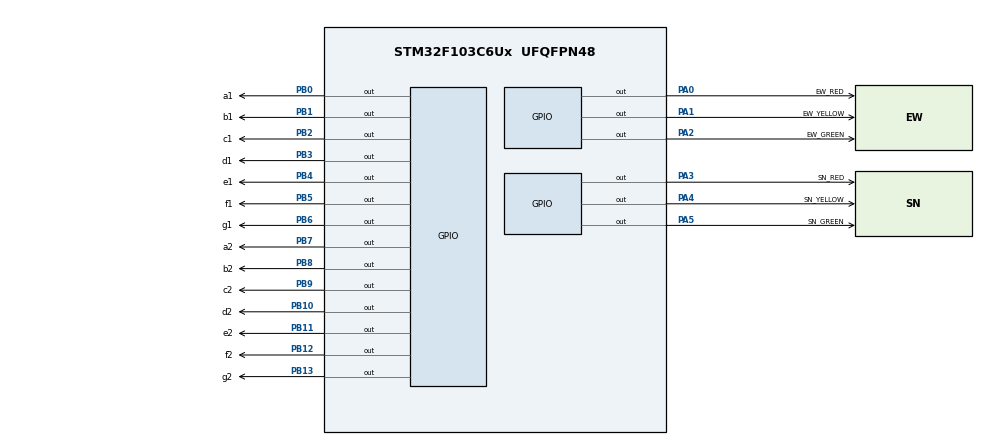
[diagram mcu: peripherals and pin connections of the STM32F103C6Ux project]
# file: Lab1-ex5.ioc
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Mcu.Family=STM32F1
Mcu.Name=STM32F103C6Ux
Mcu.Package=UFQFPN48
NVIC.PriorityGroup=NVIC_PRIORITYGROUP_4
PA0-WKUP.GPIO_Label=EW_RED
PA0-WKUP.Signal=GPIO_Output
PA1.GPIO_Label=EW_YELLOW
PA1.Signal=GPIO_Output
PA2.GPIO_Label=EW_GREEN
PA2.Signal=GPIO_Output
PA3.GPIO_Label=SN_RED
PA3.Signal=GPIO_Output
PA4.GPIO_Label=SN_YELLOW
PA4.Signal=GPIO_Output
PA5.GPIO_Label=SN_GREEN
PA5.Signal=GPIO_Output
PB0.GPIO_Label=a1
PB0.Signal=GPIO_Output
PB1.GPIO_Label=b1
PB1.Signal=GPIO_Output
PB10.GPIO_Label=d2
PB10.Signal=GPIO_Output
PB11.GPIO_Label=e2
PB11.Signal=GPIO_Output
PB12.GPIO_Label=f2
PB12.Signal=GPIO_Output
PB13.GPIO_Label=g2
PB13.Signal=GPIO_Output
PB2.GPIO_Label=c1
PB2.Signal=GPIO_Output
PB3.GPIO_Label=d1
PB3.Signal=GPIO_Output
PB4.GPIO_Label=e1
PB4.Signal=GPIO_Output
PB5.GPIO_Label=f1
PB5.Signal=GPIO_Output
PB6.GPIO_Label=g1
PB6.Signal=GPIO_Output
PB7.GPIO_Label=a2
PB7.Signal=GPIO_Output
PB8.GPIO_Label=b2
PB8.Signal=GPIO_Output
PB9.GPIO_Label=c2
PB9.Signal=GPIO_Output
ProjectManager.HeapSize=0x200
ProjectManager.StackSize=0x400
ProjectManager.TargetToolchain=STM32CubeIDE
RCC.APB1Freq_Value=8000000
RCC.APB2Freq_Value=8000000
VP_SYS_VS_ND.Mode=No_Debug
board=custom

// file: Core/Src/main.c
/* USER CODE BEGIN Header */
/**
  ******************************************************************************
  * @file           : main.c
  * @brief          : Main program body
  ******************************************************************************
  * @attention
  *
  * <h2><center>&copy; Copyright (c) 2025 STMicroelectronics.
  * All rights reserved.</center></h2>
  *
  * This software component is licensed by ST under BSD 3-Clause license,
  * the "License"; You may not use this file except in compliance with the
  * License. You may obtain a copy of the License at:
  *                        opensource.org/licenses/BSD-3-Clause
  *
  ******************************************************************************
  */
/* USER CODE END Header */
#include "main.h"

void SystemClock_Config(void);
static void MX_GPIO_Init(void);
/* USER CODE BEGIN PFP */
void display7SEG1(int num);
void display7SEG2(int num);
/* USER CODE END PFP */

int main(void)
{

  /* MCU Configuration--------------------------------------------------------*/

  /* Reset of all peripherals, Initializes the Flash interface and the Systick. */
  HAL_Init();

  /* Configure the system clock */
  SystemClock_Config();

  /* Initialize all configured peripherals */
  MX_GPIO_Init();

  /* Infinite loop */
  /* USER CODE BEGIN WHILE */
  int state = 1;
  int counter = 3;

  while (1) {
      switch (state) {
          case 1: // NS GREEN (5s), EW RED
              HAL_GPIO_WritePin(SN_GREEN_GPIO_Port, SN_GREEN_Pin, GPIO_PIN_RESET);
              HAL_GPIO_WritePin(SN_RED_GPIO_Port, SN_RED_Pin, GPIO_PIN_SET);
              HAL_GPIO_WritePin(SN_YELLOW_GPIO_Port, SN_YELLOW_Pin, GPIO_PIN_SET);
              HAL_GPIO_WritePin(EW_RED_GPIO_Port, EW_RED_Pin, GPIO_PIN_RESET);
              HAL_GPIO_WritePin(EW_GREEN_GPIO_Port, EW_GREEN_Pin, GPIO_PIN_SET);
              HAL_GPIO_WritePin(EW_YELLOW_GPIO_Port, EW_YELLOW_Pin, GPIO_PIN_SET);

              display7SEG1(counter + 2); // NS
              display7SEG2(counter);    // EW
              break;

          case 2: // NS YELLOW (2s), EW RED
              HAL_GPIO_WritePin(SN_GREEN_GPIO_Port, SN_GREEN_Pin, GPIO_PIN_SET);
              HAL_GPIO_WritePin(SN_YELLOW_GPIO_Port, SN_YELLOW_Pin, GPIO_PIN_RESET);
              HAL_GPIO_WritePin(EW_RED_GPIO_Port, EW_RED_Pin, GPIO_PIN_RESET);

              display7SEG1(counter);
              display7SEG2(counter);
              break;

          case 3: // EW GREEN (3s), NS RED
              HAL_GPIO_WritePin(EW_GREEN_GPIO_Port, EW_GREEN_Pin, GPIO_PIN_RESET);
              HAL_GPIO_WritePin(EW_RED_GPIO_Port, EW_RED_Pin, GPIO_PIN_SET);
              HAL_GPIO_WritePin(EW_YELLOW_GPIO_Port, EW_YELLOW_Pin, GPIO_PIN_SET);
              HAL_GPIO_WritePin(SN_RED_GPIO_Port, SN_RED_Pin, GPIO_PIN_RESET);
              HAL_GPIO_WritePin(SN_YELLOW_GPIO_Port, SN_YELLOW_Pin, GPIO_PIN_SET);

              display7SEG1(counter);
              display7SEG2(counter + 2);
              break;

          case 4: // EW YELLOW (2s), NS RED
              HAL_GPIO_WritePin(EW_GREEN_GPIO_Port, EW_GREEN_Pin, GPIO_PIN_SET);
              HAL_GPIO_WritePin(EW_YELLOW_GPIO_Port, EW_YELLOW_Pin, GPIO_PIN_RESET);
              HAL_GPIO_WritePin(SN_RED_GPIO_Port, SN_RED_Pin, GPIO_PIN_RESET);

              display7SEG1(counter);
              display7SEG2(counter);
              break;
      }

      // Delay
      HAL_Delay(1000);

      counter--;

      // Switch state
      if (counter <= 0) {
          switch (state) {
              case 1: state = 2; counter = 2; break;  // NS Yellow
              case 2: state = 3; counter = 3; break;  // EW Green
              case 3: state = 4; counter = 2; break;  // EW Yellow
              case 4: state = 1; counter = 3; break;  // Quay lại NS Green
          }
      }
  }

  /* USER CODE END 3 */
}

void SystemClock_Config(void)
{
  RCC_OscInitTypeDef RCC_OscInitStruct = {0};
  RCC_ClkInitTypeDef RCC_ClkInitStruct = {0};

  /** Initializes the RCC Oscillators according to the specified parameters
  * in the RCC_OscInitTypeDef structure.
  */
  RCC_OscInitStruct.OscillatorType = RCC_OSCILLATORTYPE_HSI;
  RCC_OscInitStruct.HSIState = RCC_HSI_ON;
  RCC_OscInitStruct.HSICalibrationValue = RCC_HSICALIBRATION_DEFAULT;
  RCC_OscInitStruct.PLL.PLLState = RCC_PLL_NONE;
  if (HAL_RCC_OscConfig(&RCC_OscInitStruct) != HAL_OK)
  {
    Error_Handler();
  }
  /** Initializes the CPU, AHB and APB buses clocks
  */
  RCC_ClkInitStruct.ClockType = RCC_CLOCKTYPE_HCLK|RCC_CLOCKTYPE_SYSCLK
                              |RCC_CLOCKTYPE_PCLK1|RCC_CLOCKTYPE_PCLK2;
  RCC_ClkInitStruct.SYSCLKSource = RCC_SYSCLKSOURCE_HSI;
  RCC_ClkInitStruct.AHBCLKDivider = RCC_SYSCLK_DIV1;
  RCC_ClkInitStruct.APB1CLKDivider = RCC_HCLK_DIV1;
  RCC_ClkInitStruct.APB2CLKDivider = RCC_HCLK_DIV1;

  if (HAL_RCC_ClockConfig(&RCC_ClkInitStruct, FLASH_LATENCY_0) != HAL_OK)
  {
    Error_Handler();
  }
}

static void MX_GPIO_Init(void)
{
  GPIO_InitTypeDef GPIO_InitStruct = {0};

  /* GPIO Ports Clock Enable */
  __HAL_RCC_GPIOA_CLK_ENABLE();
  __HAL_RCC_GPIOB_CLK_ENABLE();

  /*Configure GPIO pin Output Level */
  HAL_GPIO_WritePin(GPIOA, EW_RED_Pin|EW_YELLOW_Pin|EW_GREEN_Pin|SN_RED_Pin
                          |SN_YELLOW_Pin|SN_GREEN_Pin, GPIO_PIN_RESET);

  /*Configure GPIO pin Output Level */
  HAL_GPIO_WritePin(GPIOB, a1_Pin|b1_Pin|c1_Pin|d2_Pin
                          |e2_Pin|f2_Pin|g2_Pin|d1_Pin
                          |e1_Pin|f1_Pin|g1_Pin|a2_Pin
                          |b2_Pin|c2_Pin, GPIO_PIN_RESET);

  /*Configure GPIO pins : EW_RED_Pin EW_YELLOW_Pin EW_GREEN_Pin SN_RED_Pin
                           SN_YELLOW_Pin SN_GREEN_Pin */
  GPIO_InitStruct.Pin = EW_RED_Pin|EW_YELLOW_Pin|EW_GREEN_Pin|SN_RED_Pin
                          |SN_YELLOW_Pin|SN_GREEN_Pin;
  GPIO_InitStruct.Mode = GPIO_MODE_OUTPUT_PP;
  GPIO_InitStruct.Pull = GPIO_NOPULL;
  GPIO_InitStruct.Speed = GPIO_SPEED_FREQ_LOW;
  HAL_GPIO_Init(GPIOA, &GPIO_InitStruct);

  /*Configure GPIO pins : a1_Pin b1_Pin c1_Pin d2_Pin
                           e2_Pin f2_Pin g2_Pin d1_Pin
                           e1_Pin f1_Pin g1_Pin a2_Pin
                           b2_Pin c2_Pin */
  GPIO_InitStruct.Pin = a1_Pin|b1_Pin|c1_Pin|d2_Pin
                          |e2_Pin|f2_Pin|g2_Pin|d1_Pin
                          |e1_Pin|f1_Pin|g1_Pin|a2_Pin
                          |b2_Pin|c2_Pin;
  GPIO_InitStruct.Mode = GPIO_MODE_OUTPUT_PP;
  GPIO_InitStruct.Pull = GPIO_NOPULL;
  GPIO_InitStruct.Speed = GPIO_SPEED_FREQ_LOW;
  HAL_GPIO_Init(GPIOB, &GPIO_InitStruct);

}

/* USER CODE BEGIN 4 */
void display7SEG1(int num) {
	switch (num) {
		case 0:
		  HAL_GPIO_WritePin(a1_GPIO_Port, a1_Pin, GPIO_PIN_RESET);
		  HAL_GPIO_WritePin(b1_GPIO_Port, b1_Pin, GPIO_PIN_RESET);
		  HAL_GPIO_WritePin(c1_GPIO_Port, c1_Pin, GPIO_PIN_RESET);
		  HAL_GPIO_WritePin(d1_GPIO_Port, d1_Pin, GPIO_PIN_RESET);
		  HAL_GPIO_WritePin(e1_GPIO_Port, e1_Pin, GPIO_PIN_RESET);
		  HAL_GPIO_WritePin(f1_GPIO_Port, f1_Pin, GPIO_PIN_RESET);
		  HAL_GPIO_WritePin(g1_GPIO_Port, g1_Pin, GPIO_PIN_SET);

		  break;

		case 1:
		  HAL_GPIO_WritePin(a1_GPIO_Port, a1_Pin, GPIO_PIN_SET);
		  HAL_GPIO_WritePin(b1_GPIO_Port, b1_Pin, GPIO_PIN_RESET);
		  HAL_GPIO_WritePin(c1_GPIO_Port, c1_Pin, GPIO_PIN_RESET);
		  HAL_GPIO_WritePin(d1_GPIO_Port, d1_Pin, GPIO_PIN_SET);
		  HAL_GPIO_WritePin(e1_GPIO_Port, e1_Pin, GPIO_PIN_SET);
		  HAL_GPIO_WritePin(f1_GPIO_Port, f1_Pin, GPIO_PIN_SET);
		  HAL_GPIO_WritePin(g1_GPIO_Port, g1_Pin, GPIO_PIN_SET);

		  break;

		case 2:
		  HAL_GPIO_WritePin(a1_GPIO_Port, a1_Pin, GPIO_PIN_RESET);
		  HAL_GPIO_WritePin(b1_GPIO_Port, b1_Pin, GPIO_PIN_RESET);
		  HAL_GPIO_WritePin(c1_GPIO_Port, c1_Pin, GPIO_PIN_SET);
		  HAL_GPIO_WritePin(d1_GPIO_Port, d1_Pin, GPIO_PIN_RESET);
		  HAL_GPIO_WritePin(e1_GPIO_Port, e1_Pin, GPIO_PIN_RESET);
		  HAL_GPIO_WritePin(f1_GPIO_Port, f1_Pin, GPIO_PIN_SET);
		  HAL_GPIO_WritePin(g1_GPIO_Port, g1_Pin, GPIO_PIN_RESET);

		  break;

		case 3:
		  HAL_GPIO_WritePin(a1_GPIO_Port, a1_Pin, GPIO_PIN_RESET);
	      HAL_GPIO_WritePin(b1_GPIO_Port, b1_Pin, GPIO_PIN_RESET);
		  HAL_GPIO_WritePin(c1_GPIO_Port, c1_Pin, GPIO_PIN_RESET);
		  HAL_GPIO_WritePin(d1_GPIO_Port, d1_Pin, GPIO_PIN_RESET);
		  HAL_GPIO_WritePin(e1_GPIO_Port, e1_Pin, GPIO_PIN_SET);
		  HAL_GPIO_WritePin(f1_GPIO_Port, f1_Pin, GPIO_PIN_SET);
		  HAL_GPIO_WritePin(g1_GPIO_Port, g1_Pin, GPIO_PIN_RESET);

		  break;

		case 4:
		  HAL_GPIO_WritePin(a1_GPIO_Port, a1_Pin, GPIO_PIN_SET);
		  HAL_GPIO_WritePin(b1_GPIO_Port, b1_Pin, GPIO_PIN_RESET);
		  HAL_GPIO_WritePin(c1_GPIO_Port, c1_Pin, GPIO_PIN_RESET);
		  HAL_GPIO_WritePin(d1_GPIO_Port, d1_Pin, GPIO_PIN_SET);
		  HAL_GPIO_WritePin(e1_GPIO_Port, e1_Pin, GPIO_PIN_SET);
		  HAL_GPIO_WritePin(f1_GPIO_Port, f1_Pin, GPIO_PIN_RESET);
		  HAL_GPIO_WritePin(g1_GPIO_Port, g1_Pin, GPIO_PIN_RESET);

		  break;

		case 5:
		  HAL_GPIO_WritePin(a1_GPIO_Port, a1_Pin, GPIO_PIN_RESET);
		  HAL_GPIO_WritePin(b1_GPIO_Port, b1_Pin, GPIO_PIN_SET);
		  HAL_GPIO_WritePin(c1_GPIO_Port, c1_Pin, GPIO_PIN_RESET);
		  HAL_GPIO_WritePin(d1_GPIO_Port, d1_Pin, GPIO_PIN_RESET);
		  HAL_GPIO_WritePin(e1_GPIO_Port, e1_Pin, GPIO_PIN_SET);
		  HAL_GPIO_WritePin(f1_GPIO_Port, f1_Pin, GPIO_PIN_RESET);
		  HAL_GPIO_WritePin(g1_GPIO_Port, g1_Pin, GPIO_PIN_RESET);

		  break;

		case 6:
		  HAL_GPIO_WritePin(a1_GPIO_Port, a1_Pin, GPIO_PIN_RESET);
		  HAL_GPIO_WritePin(b1_GPIO_Port, b1_Pin, GPIO_PIN_SET);
		  HAL_GPIO_WritePin(c1_GPIO_Port, c1_Pin, GPIO_PIN_RESET);
		  HAL_GPIO_WritePin(d1_GPIO_Port, d1_Pin, GPIO_PIN_RESET);
		  HAL_GPIO_WritePin(e1_GPIO_Port, e1_Pin, GPIO_PIN_RESET);
		  HAL_GPIO_WritePin(f1_GPIO_Port, f1_Pin, GPIO_PIN_RESET);
		  HAL_GPIO_WritePin(g1_GPIO_Port, g1_Pin, GPIO_PIN_RESET);

		  break;

		case 7:
		  HAL_GPIO_WritePin(a1_GPIO_Port, a1_Pin, GPIO_PIN_RESET);
		  HAL_GPIO_WritePin(b1_GPIO_Port, b1_Pin, GPIO_PIN_RESET);
		  HAL_GPIO_WritePin(c1_GPIO_Port, c1_Pin, GPIO_PIN_RESET);
		  HAL_GPIO_WritePin(d1_GPIO_Port, d1_Pin, GPIO_PIN_SET);
		  HAL_GPIO_WritePin(e1_GPIO_Port, e1_Pin, GPIO_PIN_SET);
		  HAL_GPIO_WritePin(f1_GPIO_Port, f1_Pin, GPIO_PIN_SET);
		  HAL_GPIO_WritePin(g1_GPIO_Port, g1_Pin, GPIO_PIN_SET);

		  break;

		case 8:
		  HAL_GPIO_WritePin(a1_GPIO_Port, a1_Pin, GPIO_PIN_RESET);
		  HAL_GPIO_WritePin(b1_GPIO_Port, b1_Pin, GPIO_PIN_RESET);
		  HAL_GPIO_WritePin(c1_GPIO_Port, c1_Pin, GPIO_PIN_RESET);
		  HAL_GPIO_WritePin(d1_GPIO_Port, d1_Pin, GPIO_PIN_RESET);
		  HAL_GPIO_WritePin(e1_GPIO_Port, e1_Pin, GPIO_PIN_RESET);
		  HAL_GPIO_WritePin(f1_GPIO_Port, f1_Pin, GPIO_PIN_RESET);
		  HAL_GPIO_WritePin(g1_GPIO_Port, g1_Pin, GPIO_PIN_RESET);

		  break;

		case 9:
		  HAL_GPIO_WritePin(a1_GPIO_Port, a1_Pin, GPIO_PIN_RESET);
		  HAL_GPIO_WritePin(b1_GPIO_Port, b1_Pin, GPIO_PIN_RESET);
		  HAL_GPIO_WritePin(c1_GPIO_Port, c1_Pin, GPIO_PIN_RESET);
		  HAL_GPIO_WritePin(d1_GPIO_Port, d1_Pin, GPIO_PIN_RESET);
		  HAL_GPIO_WritePin(e1_GPIO_Port, e1_Pin, GPIO_PIN_SET);
		  HAL_GPIO_WritePin(f1_GPIO_Port, f1_Pin, GPIO_PIN_RESET);
		  HAL_GPIO_WritePin(g1_GPIO_Port, g1_Pin, GPIO_PIN_RESET);

		  break;
	}
}

void display7SEG2(int num) {
	switch (num) {
		case 0:

		  HAL_GPIO_WritePin(a2_GPIO_Port, a2_Pin, GPIO_PIN_RESET);
		  HAL_GPIO_WritePin(b2_GPIO_Port, b2_Pin, GPIO_PIN_RESET);
		  HAL_GPIO_WritePin(c2_GPIO_Port, c2_Pin, GPIO_PIN_RESET);
		  HAL_GPIO_WritePin(d2_GPIO_Port, d2_Pin, GPIO_PIN_RESET);
		  HAL_GPIO_WritePin(e2_GPIO_Port, e2_Pin, GPIO_PIN_RESET);
		  HAL_GPIO_WritePin(f2_GPIO_Port, f2_Pin, GPIO_PIN_RESET);
		  HAL_GPIO_WritePin(g2_GPIO_Port, g2_Pin, GPIO_PIN_SET);
		  break;

		case 1:

		  HAL_GPIO_WritePin(a2_GPIO_Port, a2_Pin, GPIO_PIN_SET);
		  HAL_GPIO_WritePin(b2_GPIO_Port, b2_Pin, GPIO_PIN_RESET);
		  HAL_GPIO_WritePin(c2_GPIO_Port, c2_Pin, GPIO_PIN_RESET);
		  HAL_GPIO_WritePin(d2_GPIO_Port, d2_Pin, GPIO_PIN_SET);
		  HAL_GPIO_WritePin(e2_GPIO_Port, e2_Pin, GPIO_PIN_SET);
		  HAL_GPIO_WritePin(f2_GPIO_Port, f2_Pin, GPIO_PIN_SET);
		  HAL_GPIO_WritePin(g2_GPIO_Port, g2_Pin, GPIO_PIN_SET);
		  break;

		case 2:

		  HAL_GPIO_WritePin(a2_GPIO_Port, a2_Pin, GPIO_PIN_RESET);
		  HAL_GPIO_WritePin(b2_GPIO_Port, b2_Pin, GPIO_PIN_RESET);
		  HAL_GPIO_WritePin(c2_GPIO_Port, c2_Pin, GPIO_PIN_SET);
		  HAL_GPIO_WritePin(d2_GPIO_Port, d2_Pin, GPIO_PIN_RESET);
		  HAL_GPIO_WritePin(e2_GPIO_Port, e2_Pin, GPIO_PIN_RESET);
		  HAL_GPIO_WritePin(f2_GPIO_Port, f2_Pin, GPIO_PIN_SET);
		  HAL_GPIO_WritePin(g2_GPIO_Port, g2_Pin, GPIO_PIN_RESET);
		  break;

		case 3:

		  HAL_GPIO_WritePin(a2_GPIO_Port, a2_Pin, GPIO_PIN_RESET);
		  HAL_GPIO_WritePin(b2_GPIO_Port, b2_Pin, GPIO_PIN_RESET);
		  HAL_GPIO_WritePin(c2_GPIO_Port, c2_Pin, GPIO_PIN_RESET);
		  HAL_GPIO_WritePin(d2_GPIO_Port, d2_Pin, GPIO_PIN_RESET);
		  HAL_GPIO_WritePin(e2_GPIO_Port, e2_Pin, GPIO_PIN_SET);
		  HAL_GPIO_WritePin(f2_GPIO_Port, f2_Pin, GPIO_PIN_SET);
		  HAL_GPIO_WritePin(g2_GPIO_Port, g2_Pin, GPIO_PIN_RESET);
		  break;

		case 4:

		  HAL_GPIO_WritePin(a2_GPIO_Port, a2_Pin, GPIO_PIN_SET);
		  HAL_GPIO_WritePin(b2_GPIO_Port, b2_Pin, GPIO_PIN_RESET);
		  HAL_GPIO_WritePin(c2_GPIO_Port, c2_Pin, GPIO_PIN_RESET);
		  HAL_GPIO_WritePin(d2_GPIO_Port, d2_Pin, GPIO_PIN_SET);
		  HAL_GPIO_WritePin(e2_GPIO_Port, e2_Pin, GPIO_PIN_SET);
		  HAL_GPIO_WritePin(f2_GPIO_Port, f2_Pin, GPIO_PIN_RESET);
		  HAL_GPIO_WritePin(g2_GPIO_Port, g2_Pin, GPIO_PIN_RESET);
		  break;

		case 5:

		  HAL_GPIO_WritePin(a2_GPIO_Port, a2_Pin, GPIO_PIN_RESET);
		  HAL_GPIO_WritePin(b2_GPIO_Port, b2_Pin, GPIO_PIN_SET);
		  HAL_GPIO_WritePin(c2_GPIO_Port, c2_Pin, GPIO_PIN_RESET);
		  HAL_GPIO_WritePin(d2_GPIO_Port, d2_Pin, GPIO_PIN_RESET);
		  HAL_GPIO_WritePin(e2_GPIO_Port, e2_Pin, GPIO_PIN_SET);
		  HAL_GPIO_WritePin(f2_GPIO_Port, f2_Pin, GPIO_PIN_RESET);
		  HAL_GPIO_WritePin(g2_GPIO_Port, g2_Pin, GPIO_PIN_RESET);
		  break;

		case 6:

		  HAL_GPIO_WritePin(a2_GPIO_Port, a2_Pin, GPIO_PIN_RESET);
		  HAL_GPIO_WritePin(b2_GPIO_Port, b2_Pin, GPIO_PIN_SET);
		  HAL_GPIO_WritePin(c2_GPIO_Port, c2_Pin, GPIO_PIN_RESET);
		  HAL_GPIO_WritePin(d2_GPIO_Port, d2_Pin, GPIO_PIN_RESET);
		  HAL_GPIO_WritePin(e2_GPIO_Port, e2_Pin, GPIO_PIN_RESET);
		  HAL_GPIO_WritePin(f2_GPIO_Port, f2_Pin, GPIO_PIN_RESET);
		  HAL_GPIO_WritePin(g2_GPIO_Port, g2_Pin, GPIO_PIN_RESET);
		  break;

		case 7:

		  HAL_GPIO_WritePin(a2_GPIO_Port, a2_Pin, GPIO_PIN_RESET);
		  HAL_GPIO_WritePin(b2_GPIO_Port, b2_Pin, GPIO_PIN_RESET);
		  HAL_GPIO_WritePin(c2_GPIO_Port, c2_Pin, GPIO_PIN_RESET);
		  HAL_GPIO_WritePin(d2_GPIO_Port, d2_Pin, GPIO_PIN_SET);
		  HAL_GPIO_WritePin(e2_GPIO_Port, e2_Pin, GPIO_PIN_SET);
		  HAL_GPIO_WritePin(f2_GPIO_Port, f2_Pin, GPIO_PIN_SET);
		  HAL_GPIO_WritePin(g2_GPIO_Port, g2_Pin, GPIO_PIN_SET);
		  break;

		case 8:

		  HAL_GPIO_WritePin(a2_GPIO_Port, a2_Pin, GPIO_PIN_RESET);
		  HAL_GPIO_WritePin(b2_GPIO_Port, b2_Pin, GPIO_PIN_RESET);
		  HAL_GPIO_WritePin(c2_GPIO_Port, c2_Pin, GPIO_PIN_RESET);
		  HAL_GPIO_WritePin(d2_GPIO_Port, d2_Pin, GPIO_PIN_RESET);
		  HAL_GPIO_WritePin(e2_GPIO_Port, e2_Pin, GPIO_PIN_RESET);
		  HAL_GPIO_WritePin(f2_GPIO_Port, f2_Pin, GPIO_PIN_RESET);
		  HAL_GPIO_WritePin(g2_GPIO_Port, g2_Pin, GPIO_PIN_RESET);
		  break;

		case 9:

		  HAL_GPIO_WritePin(a2_GPIO_Port, a2_Pin, GPIO_PIN_RESET);
		  HAL_GPIO_WritePin(b2_GPIO_Port, b2_Pin, GPIO_PIN_RESET);
		  HAL_GPIO_WritePin(c2_GPIO_Port, c2_Pin, GPIO_PIN_RESET);
		  HAL_GPIO_WritePin(d2_GPIO_Port, d2_Pin, GPIO_PIN_RESET);
		  HAL_GPIO_WritePin(e2_GPIO_Port, e2_Pin, GPIO_PIN_SET);
		  HAL_GPIO_WritePin(f2_GPIO_Port, f2_Pin, GPIO_PIN_RESET);
		  HAL_GPIO_WritePin(g2_GPIO_Port, g2_Pin, GPIO_PIN_RESET);
		  break;
	}
}
/* USER CODE END 4 */

void Error_Handler(void)
{
  __disable_irq();
  while (1)
  {
  }
}

/************************ (C) COPYRIGHT STMicroelectronics *****END OF FILE****/
